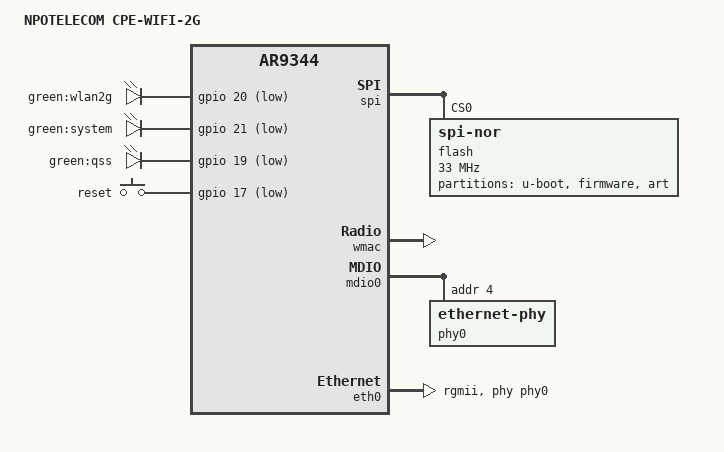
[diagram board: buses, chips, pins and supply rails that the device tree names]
// SPDX-License-Identifier: GPL-2.0-or-later OR MIT

#include "ar9344.dtsi"

#include <dt-bindings/gpio/gpio.h>
#include <dt-bindings/input/input.h>

/ {
	model = "NPOTELECOM CPE-WIFI-2G";
	compatible = "npotelecom,cpe-wifi-2g", "qca,ar9344";
	
	aliases {
		led-boot = &led_system;
		led-failsafe = &led_system;
		led-running = &led_system;
		led-upgrade = &led_system;
	};

	leds: leds {
		compatible = "gpio-leds";

		wlan2g {
			label = "green:wlan2g";
			gpios = <&gpio 20 GPIO_ACTIVE_LOW>;
			linux,default-trigger = "phy0tpt";
		};

		led_system: system {
			label = "green:system";
			gpios = <&gpio 21 GPIO_ACTIVE_LOW>;
			default-state = "on";
		};

		qss {
			label = "green:qss";
			gpios = <&gpio 19 GPIO_ACTIVE_LOW>;
		};
	};


	keys {
		compatible = "gpio-keys";

		reset {
			linux,code = <KEY_RESTART>;
			gpios = <&gpio 17 GPIO_ACTIVE_LOW>;
			debounce-interval = <60>;
		};

	};
};

&ref {
	clock-frequency = <40000000>;
};

&spi {
	status = "okay";

	flash@0 {
		compatible = "jedec,spi-nor";
		reg = <0>;
		spi-max-frequency = <33000000>;

		partitions {
			compatible = "fixed-partitions";
			#address-cells = <1>;
			#size-cells = <1>;

			uboot: partition@0 {
				label = "u-boot";
				reg = <0x000000 0x020000>;
				read-only;
			};

			partition@20000 {
				compatible = "tplink,firmware";
				label = "firmware";
				reg = <0x020000 0xfd0000>;
			};

			art: partition@7f0000 {
				label = "art";
				reg = <0xff0000 0x010000>;
				//read-only;
			};
		};
	};
};

&wmac {
	status = "okay";
	mtd-cal-data = <&art 0x1000>;
    mtd-mac-address = <&uboot 0x1fc00>;
	mtd-mac-address-increment = <(-1)>;
	//qca,no-eeprom;
};

&mdio0 {
	status = "okay";

	phy-mask = <0>;

	phy0: ethernet-phy@0 {
		reg = <4>;
		phy-mode = "rgmii";
	};
};

&eth0 {
	status = "okay";

	/* default for ar934x, except for 1000M */
	pll-data = <0x4E000000 0x0C000101 0x0C001313>;

	mtd-mac-address = <&uboot 0x1fc00>;

	phy-mode = "rgmii";
	phy-handle = <&phy0>;
	gmac-config {
		device = <&gmac>;
		rgmii-gmac0 = <1>;
		rxd-delay = <0>;
		rxdv-delay = <0>;
		txen-delay = <0>;
		txd-delay = <0>;
	};
};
